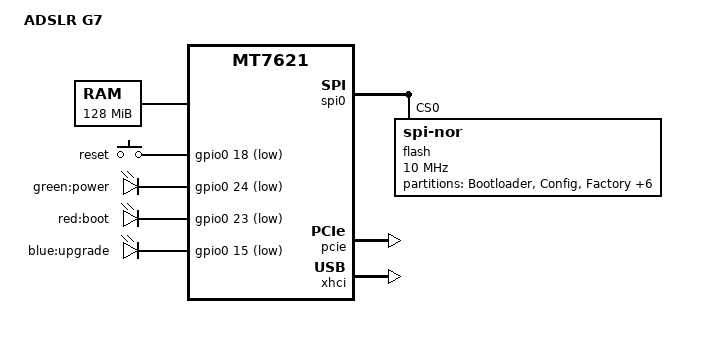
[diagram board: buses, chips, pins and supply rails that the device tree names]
/dts-v1/;
#include "mt7621.dtsi"
#include <dt-bindings/gpio/gpio.h>
#include <dt-bindings/input/input.h>
#include <dt-bindings/leds/common.h>

/ {
	compatible = "adslr,g7", "mediatek,mt7621-soc";
	model = "ADSLR G7";

	memory@0 {
		device_type = "memory";
		reg = <0x0 0x8000000>;
	};

	chosen {
		bootargs = "console=ttyS0,115200";
	};

	aliases {
		led-boot = &led_power;
		led-failsafe = &led_power;
		led-running = &led_power;
		led-upgrade = &led_boot;
	};

	keys {
		compatible = "gpio-keys";
		reset {
			label = "reset";
			gpios = <&gpio0 18 GPIO_ACTIVE_LOW>;
			linux,code = <KEY_RESTART>;
		};
	};

	leds {
		compatible = "gpio-leds";

		led_power: power {
			label = "green:power";
			gpios = <&gpio0 24 GPIO_ACTIVE_LOW>;
			default-state = "on";
		};

		led_boot: boot {
			label = "red:boot";
			gpios = <&gpio0 23 GPIO_ACTIVE_LOW>;
			default-state = "off";
		};

		led_upgrade: upgrade {
			label = "blue:upgrade";
			gpios = <&gpio0 15 GPIO_ACTIVE_LOW>;
			default-state = "off";
		};
	};
};

&spi0 {
	status = "okay";

	flash@0 {
		compatible = "jedec,spi-nor";
		reg = <0>;
		spi-max-frequency = <10000000>;

		partitions {
			compatible = "fixed-partitions";
			#address-cells = <1>;
			#size-cells = <1>;

			partition@0 {
				label = "Bootloader";
				reg = <0x000000 0x030000>;
				read-only;
			};
			partition@30000 {
				label = "Config";
				reg = <0x030000 0x010000>;
			};
			factory: partition@40000 {
				label = "Factory";
				reg = <0x040000 0x010000>;
				read-only;
			};
			partition@50000 {
				label = "Bootloader2";
				reg = <0x050000 0x030000>;
				read-only;
			};
			partition@80000 {
				compatible = "denx,uimage";
				label = "firmware";
				reg = <0x080000 0xF00000>;
			};
			partition@f80000 {
				label = "rootfs_data";
				reg = <0xF80000 0x160000>;
			};
			partition@10e0000 {
				label = "firmware2";
				reg = <0x10E0000 0xF00000>;
			};
			partition@1fe0000 {
				label = "BoardInfo";
				reg = <0x1FE0000 0x010000>;
				read-only;
			};
			partition@1ff0000 {
				label = "RebootCause";
				reg = <0x1FF0000 0x010000>;
				read-only;
			};
		};
	};
};

&pcie {
	status = "okay";
};

&pcie0 {
	mt76@0,0 {
		reg = <0x0000 0 0 0 0>;
		mediatek,mtd-eeprom = <&factory 0x0>;
		ieee80211-freq-limit = <2400000 2500000>;
	};
};

&pcie1 {
	mt76@0,0 {
		reg = <0x0000 0 0 0 0>;
		mediatek,mtd-eeprom = <&factory 0x8000>;
		ieee80211-freq-limit = <5000000 6000000>;
	};
};

&ethernet {
	mtd-mac-address = <&factory 0xe000>;
};

&gsw {
	mediatek,portmap = <0x11>;
};

&xhci {
	status = "okay";
};
